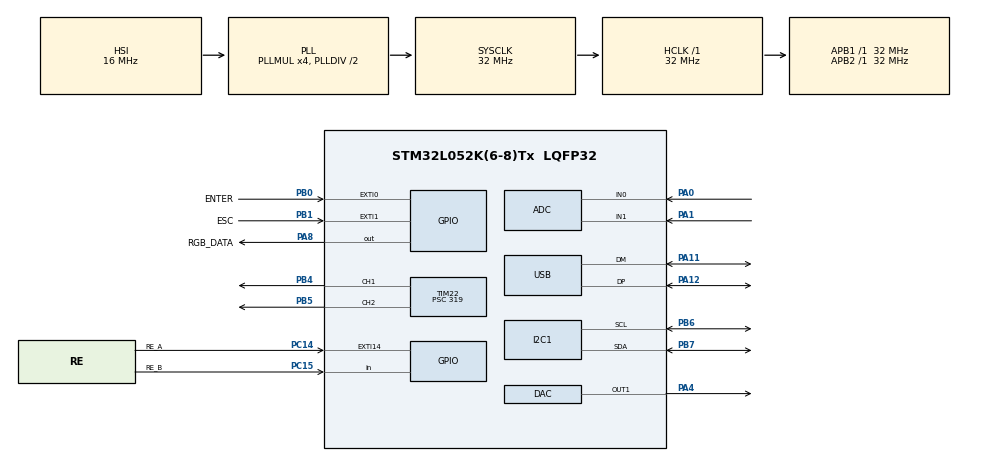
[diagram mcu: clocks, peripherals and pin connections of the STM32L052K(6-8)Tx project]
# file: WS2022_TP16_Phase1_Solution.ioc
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ADC.ClockPrescaler=ADC_CLOCK_ASYNC_DIV64
ADC.ContinuousConvMode=ENABLE
ADC.DMAContinuousRequests=ENABLE
ADC.SamplingTime=ADC_SAMPLETIME_160CYCLES_5
Dma.ADC.0.Direction=DMA_PERIPH_TO_MEMORY
Dma.ADC.0.Instance=DMA1_Channel1
Dma.ADC.0.MemDataAlignment=DMA_MDATAALIGN_WORD
Dma.ADC.0.MemInc=DMA_MINC_ENABLE
Dma.ADC.0.Mode=DMA_CIRCULAR
Dma.ADC.0.PeriphDataAlignment=DMA_PDATAALIGN_WORD
Dma.ADC.0.PeriphInc=DMA_PINC_DISABLE
Dma.ADC.0.Priority=DMA_PRIORITY_LOW
Dma.Request0=ADC
Dma.Request1=TIM6_UP
Dma.TIM6_UP.1.Direction=DMA_PERIPH_TO_MEMORY
Dma.TIM6_UP.1.Instance=DMA1_Channel2
Dma.TIM6_UP.1.MemDataAlignment=DMA_MDATAALIGN_WORD
Dma.TIM6_UP.1.MemInc=DMA_MINC_DISABLE
Dma.TIM6_UP.1.Mode=DMA_NORMAL
Dma.TIM6_UP.1.PeriphDataAlignment=DMA_PDATAALIGN_WORD
Dma.TIM6_UP.1.PeriphInc=DMA_PINC_DISABLE
Dma.TIM6_UP.1.Priority=DMA_PRIORITY_LOW
I2C1.Timing=0x00707CBB
Mcu.Family=STM32L0
Mcu.Name=STM32L052K(6-8)Tx
Mcu.Package=LQFP32
NVIC.DMA1_Channel1_IRQn=true\:0\:0\:false\:false\:true\:false\:true\:true
NVIC.DMA1_Channel2_3_IRQn=true\:0\:0\:false\:false\:true\:false\:true\:true
NVIC.EXTI0_1_IRQn=true\:0\:0\:false\:false\:true\:true\:true\:true
NVIC.EXTI4_15_IRQn=true\:0\:0\:false\:false\:true\:true\:true\:true
NVIC.TIM6_DAC_IRQn=true\:0\:0\:false\:false\:true\:true\:true\:true
NVIC.USB_IRQn=true\:0\:0\:false\:false\:true\:false\:true\:true
PA0.Mode=IN0
PA0.Signal=ADC_IN0
PA1.Mode=IN1
PA1.Signal=ADC_IN1
PA10.Signal=USART1_RX
PA11.Mode=Device
PA11.Signal=USB_DM
PA12.Mode=Device
PA12.Signal=USB_DP
PA13.Mode=Serial_Wire
PA13.Signal=SYS_SWDIO
PA14.Mode=Serial_Wire
PA14.Signal=SYS_SWCLK
PA4.Signal=COMP_DAC1_group
PA5.Signal=SPI1_SCK
PA6.Signal=SPI1_MISO
PA7.Signal=SPI1_MOSI
PA8.GPIO_Label=RGB_DATA
PA8.GPIO_Speed=GPIO_SPEED_FREQ_VERY_HIGH
PA8.PinState=GPIO_PIN_RESET
PA8.Signal=GPIO_Output
PA9.Signal=USART1_TX
PB0.GPIO_Label=ENTER
PB0.GPIO_ModeDefaultEXTI=GPIO_MODE_IT_FALLING
PB0.GPIO_PuPd=GPIO_PULLUP
PB0.Signal=GPXTI0
PB1.GPIO_Label=ESC
PB1.GPIO_ModeDefaultEXTI=GPIO_MODE_IT_FALLING
PB1.GPIO_PuPd=GPIO_PULLUP
PB1.Signal=GPXTI1
PB4.Signal=S_TIM22_CH1
PB5.Signal=S_TIM22_CH2
PB6.Mode=I2C
PB6.Signal=I2C1_SCL
PB7.Mode=I2C
PB7.Signal=I2C1_SDA
PC14-OSC32_IN.GPIO_Label=RE_A
PC14-OSC32_IN.GPIO_ModeDefaultEXTI=GPIO_MODE_IT_FALLING
PC14-OSC32_IN.GPIO_PuPd=GPIO_PULLUP
PC14-OSC32_IN.Signal=GPXTI14
PC15-OSC32_OUT.GPIO_Label=RE_B
PC15-OSC32_OUT.GPIO_PuPd=GPIO_PULLUP
PC15-OSC32_OUT.Signal=GPIO_Input
ProjectManager.HeapSize=0x200
ProjectManager.StackSize=0x400
ProjectManager.TargetToolchain=STM32CubeIDE
RCC.AHBFreq_Value=32000000
RCC.APB1Freq_Value=32000000
RCC.APB1TimFreq_Value=32000000
RCC.APB2Freq_Value=32000000
RCC.APB2TimFreq_Value=32000000
RCC.HCLKFreq_Value=32000000
RCC.HSI16_VALUE=16000000
RCC.HSI48MClockSelection=RCC_USBCLKSOURCE_HSI48
RCC.HSI48_VALUE=48000000
RCC.HSI_VALUE=16000000
RCC.LSE_VALUE=32768
RCC.MSI_VALUE=2097000
RCC.PLLMUL=RCC_PLLMUL_4
RCC.SYSCLKFreq_VALUE=32000000
RCC.SYSCLKSource=RCC_SYSCLKSOURCE_PLLCLK
RCC.VCOOutputFreq_Value=64000000
RTC.AsynchPrediv=124
RTC.Date=20
RTC.Hours=23
RTC.Minutes=59
RTC.Month=RTC_MONTH_OCTOBER
RTC.Seconds=50
RTC.StoreOperation=RTC_STOREOPERATION_SET
RTC.SynchPrediv=333
RTC.WeekDay=RTC_WEEKDAY_THURSDAY
RTC.Year=22
SH.COMP_DAC1_group.0=DAC_OUT1,DAC_OUT1
SH.S_TIM22_CH1.0=TIM22_CH1,PWM Generation1 CH1
SH.S_TIM22_CH2.0=TIM22_CH2,PWM Generation2 CH2
TIM22.Channel-PWM\ Generation1\ CH1=TIM_CHANNEL_1
TIM22.Channel-PWM\ Generation2\ CH2=TIM_CHANNEL_2
TIM22.Period=100
TIM22.Prescaler=319
TIM6.Period=10000
TIM6.Prescaler=3199
USB_DEVICE.CLASS_NAME_FS=CDC
USB_DEVICE.VirtualMode=Cdc
USB_DEVICE.VirtualModeFS=Cdc_FS
VP_RTC_VS_RTC_Activate.Mode=RTC_Enabled
VP_RTC_VS_RTC_Calendar.Mode=RTC_Calendar
VP_TIM22_VS_ClockSourceINT.Mode=Internal
VP_TIM6_VS_ClockSourceINT.Mode=Enable_Timer
VP_USB_DEVICE_VS_USB_DEVICE_CDC_FS.Mode=CDC_FS
board=custom

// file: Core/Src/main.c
/* USER CODE BEGIN Header */
/**
 ******************************************************************************
 * @file           : main.c
 * @brief          : Main program body
 ******************************************************************************
 * @attention
 *
 * Copyright (c) 2022 STMicroelectronics.
 * All rights reserved.
 *
 * This software is licensed under terms that can be found in the LICENSE file
 * in the root directory of this software component.
 * If no LICENSE file comes with this software, it is provided AS-IS.
 *
 ******************************************************************************
 */
/* USER CODE END Header */
#include "main.h"
#include "adc.h"
#include "dac.h"
#include "dma.h"
#include "i2c.h"
#include "rtc.h"
#include "tim.h"
#include "usb_device.h"
#include "gpio.h"

/* USER CODE BEGIN Includes */
#include "lcd.h"
#include "ws2812b.h"
#include "pca9536.h"
#include <stdio.h>

#include "usbd_cdc_if.h"
/* USER CODE END Includes */

/* USER CODE BEGIN PV */

/*
 * Global variables
 */
char buff[17];            // buffer for LCD display

uint32_t led_colors[12] = { 0 };      // this is buffer for all 12 rgb leds
uint8_t rotary = 1;                  // inc or dec when rotary encoder is rotated

uint32_t Trimpot[2];
enum
{
  Task1 = 1, Task2, Task3
} menu = 1;

RTC_TimeTypeDef currentTime;
RTC_DateTypeDef currentDate;

uint16_t frequency = 1000;
uint8_t duty1 = 0, duty2 = 0;

uint8_t usbReceiveBuf[64];
uint8_t usbSendBuf[20];

uint8_t timeoutRcv = 0;
boolean noMessage = true;

/* USER CODE END PV */

void SystemClock_Config(void);

/* USER CODE BEGIN 0 */
void changePWMFrequency (uint16_t frequencyP)
{
  uint16_t prescalerValue = (float) (320000 / frequencyP);
  __HAL_TIM_SET_PRESCALER(&htim22, prescalerValue);
}

void clearReceivedMessage ()
{
  memset (usbReceiveBuf, ' ', 10);
  noMessage = true;
}

void writeWeekDayToDisplay (uint8_t weekDayP)
{
  switch (weekDayP)
  {
	case RTC_WEEKDAY_MONDAY:
	  lcd_putstr ("MON");
	  break;
	case RTC_WEEKDAY_TUESDAY:
	  lcd_putstr ("TUE");
	  break;
	case RTC_WEEKDAY_WEDNESDAY:
	  lcd_putstr ("WED");
	  break;
	case RTC_WEEKDAY_THURSDAY:
	  lcd_putstr ("THU");
	  break;
	case RTC_WEEKDAY_FRIDAY:
	  lcd_putstr ("FRI");
	  break;
	case RTC_WEEKDAY_SATURDAY:
	  lcd_putstr ("SAT");
	  break;
	case RTC_WEEKDAY_SUNDAY:
	  lcd_putstr ("SUN");
	  break;
	default:
	  break;
  }
}

void getRtcDateTime ()
{
  HAL_RTC_GetDate (&hrtc, &currentDate, RTC_FORMAT_BIN);
  HAL_RTC_GetTime (&hrtc, &currentTime, RTC_FORMAT_BIN);
}

void builtInRtc ()
{
  lcd_goto_rc (0, 0);
  sprintf (buff, "%02d/%02d/%02d     ", currentDate.Date, currentDate.Month, currentDate.Year);
  lcd_putstr (buff);
  writeWeekDayToDisplay (currentDate.WeekDay);

  lcd_goto_rc (1, 0);
  sprintf (buff, "    %02d:%02d:%02d    ", currentTime.Hours, currentTime.Minutes, currentTime.Seconds);
  lcd_putstr (buff);
}

void serialCom ()
{
  lcd_goto_rc (0, 0);

  uint8_t len = strlen (usbReceiveBuf);
  if (timeoutRcv == 0) clearReceivedMessage ();
  else
  {
	//Fill with empty spaces to wipe out LCD previous messages
	for (uint8_t i = 0; i < (9 - len); i++)
	  usbReceiveBuf[len + i] = 32;
  }
  sprintf (buff, "Rec: %s ", usbReceiveBuf);
  lcd_putstr (buff);

  lcd_goto_rc (1, 0);
  sprintf (buff, "Timeout: %02ds    ", timeoutRcv);
  lcd_putstr (buff);
}

void dutyFromTrimpot ()
{
  duty1 = (float) (4095 - Trimpot[0]) * 0.0245;
  duty2 = (float) (4095 - Trimpot[1]) * 0.0245;

  __HAL_TIM_SET_COMPARE(&htim22, TIM_CHANNEL_1, duty1);
  __HAL_TIM_SET_COMPARE(&htim22, TIM_CHANNEL_2, duty2);
}

void pwm ()
{
  dutyFromTrimpot ();

  lcd_goto_rc (0, 0);
  sprintf (buff, "CH1   %04d   CH2", frequency);
  lcd_putstr (buff);

  lcd_goto_rc (1, 0);
  sprintf (buff, "%03d%%   Hz   %03d%%", duty1, duty2);
  lcd_putstr (buff);
}

/* USER CODE END 0 */

int main(void)
{

  /* MCU Configuration--------------------------------------------------------*/

  /* Reset of all peripherals, Initializes the Flash interface and the Systick. */
  HAL_Init();

  /* Configure the system clock */
  SystemClock_Config();

  /* Initialize all configured peripherals */
  MX_GPIO_Init();
  MX_DMA_Init();
  MX_ADC_Init();
  MX_DAC_Init();
  MX_I2C1_Init();
  MX_TIM22_Init();
  MX_RTC_Init();
  MX_USB_DEVICE_Init();
  MX_TIM6_Init();
  /* USER CODE BEGIN 2 */

  HAL_ADCEx_Calibration_Start (&hadc, ADC_SINGLE_ENDED);
  HAL_ADC_Start_DMA (&hadc, Trimpot, 2);
  HAL_TIM_PWM_Start (&htim22, TIM_CHANNEL_1);
  HAL_TIM_PWM_Start (&htim22, TIM_CHANNEL_2);

  lcd_init ();
  lcd_write_cmd (LCD_CLEAR_DISPLAY);
  lcd_write_cmd (LCD_CURSOR_OFF);

  pca9536_configure_port (&hi2c1, 0xC0);
  pca9536_write_port_outputs (&hi2c1, 0x02);

  HAL_Delay (100);

  /* USER CODE END 2 */

  /* Infinite loop */
  while (1)
  {

    /* USER CODE BEGIN 3 */

	switch (menu)
	{
	  case Task1:
		builtInRtc ();
		break;
	  case Task2:
		serialCom ();
		break;
	  case Task3:
		pwm ();
		break;
	  default:
		break;
	}

	getRtcDateTime ();
	HAL_Delay (10);
  }
  /* USER CODE END 3 */
}

void SystemClock_Config(void)
{
  RCC_OscInitTypeDef RCC_OscInitStruct = {0};
  RCC_ClkInitTypeDef RCC_ClkInitStruct = {0};
  RCC_PeriphCLKInitTypeDef PeriphClkInit = {0};

  /** Configure the main internal regulator output voltage
  */
  __HAL_PWR_VOLTAGESCALING_CONFIG(PWR_REGULATOR_VOLTAGE_SCALE1);

  /** Initializes the RCC Oscillators according to the specified parameters
  * in the RCC_OscInitTypeDef structure.
  */
  RCC_OscInitStruct.OscillatorType = RCC_OSCILLATORTYPE_HSI|RCC_OSCILLATORTYPE_LSI
                              |RCC_OSCILLATORTYPE_HSI48;
  RCC_OscInitStruct.HSIState = RCC_HSI_ON;
  RCC_OscInitStruct.HSICalibrationValue = RCC_HSICALIBRATION_DEFAULT;
  RCC_OscInitStruct.LSIState = RCC_LSI_ON;
  RCC_OscInitStruct.HSI48State = RCC_HSI48_ON;
  RCC_OscInitStruct.PLL.PLLState = RCC_PLL_ON;
  RCC_OscInitStruct.PLL.PLLSource = RCC_PLLSOURCE_HSI;
  RCC_OscInitStruct.PLL.PLLMUL = RCC_PLLMUL_4;
  RCC_OscInitStruct.PLL.PLLDIV = RCC_PLLDIV_2;
  if (HAL_RCC_OscConfig(&RCC_OscInitStruct) != HAL_OK)
  {
    Error_Handler();
  }

  /** Initializes the CPU, AHB and APB buses clocks
  */
  RCC_ClkInitStruct.ClockType = RCC_CLOCKTYPE_HCLK|RCC_CLOCKTYPE_SYSCLK
                              |RCC_CLOCKTYPE_PCLK1|RCC_CLOCKTYPE_PCLK2;
  RCC_ClkInitStruct.SYSCLKSource = RCC_SYSCLKSOURCE_PLLCLK;
  RCC_ClkInitStruct.AHBCLKDivider = RCC_SYSCLK_DIV1;
  RCC_ClkInitStruct.APB1CLKDivider = RCC_HCLK_DIV1;
  RCC_ClkInitStruct.APB2CLKDivider = RCC_HCLK_DIV1;

  if (HAL_RCC_ClockConfig(&RCC_ClkInitStruct, FLASH_LATENCY_1) != HAL_OK)
  {
    Error_Handler();
  }
  PeriphClkInit.PeriphClockSelection = RCC_PERIPHCLK_I2C1|RCC_PERIPHCLK_RTC
                              |RCC_PERIPHCLK_USB;
  PeriphClkInit.I2c1ClockSelection = RCC_I2C1CLKSOURCE_PCLK1;
  PeriphClkInit.RTCClockSelection = RCC_RTCCLKSOURCE_LSI;
  PeriphClkInit.UsbClockSelection = RCC_USBCLKSOURCE_HSI48;
  if (HAL_RCCEx_PeriphCLKConfig(&PeriphClkInit) != HAL_OK)
  {
    Error_Handler();
  }
}

/* USER CODE BEGIN 4 */
void HAL_TIM_PeriodElapsedCallback (TIM_HandleTypeDef *htim)
{
  if (timeoutRcv > 0) timeoutRcv--;
  else HAL_TIM_Base_Stop_IT (&htim6);
}

void HAL_GPIO_EXTI_Callback (uint16_t pin)
{
  if (pin == RE_A_Pin)
  {
	//Clockwise
	if (HAL_GPIO_ReadPin (RE_B_GPIO_Port, RE_B_Pin) == 1) menu++;
	else menu--;

	if (menu > 3) menu = 1;
	if (menu < 1) menu = 3;

	if (menu != Task3)
	{
	  duty1 = 0;
	  duty2 = 0;
	  frequency = 1000;
	  __HAL_TIM_SET_COMPARE(&htim22, TIM_CHANNEL_1, 0);
	  __HAL_TIM_SET_COMPARE(&htim22, TIM_CHANNEL_2, 0);
	}

	if (menu != Task2) timeoutRcv = 0;
  }

  //ESC Button
  if (pin == GPIO_PIN_1)
  {
	if (menu == Task2)
	{
	  clearReceivedMessage ();
	  timeoutRcv = 0;
	}

	if (menu == Task3)
	{
	  frequency -= 100;
	  if (frequency <= 100) frequency = 100;
	  changePWMFrequency (frequency);
	}

  }

  //ENTER Button
  if (pin == GPIO_PIN_0)
  {
	if (menu == Task2 && noMessage == false)
	{
	  timeoutRcv++;
	  if (timeoutRcv > 10) timeoutRcv = 10;
	}

	if (menu == Task3)
	{
	  frequency += 100;
	  if (frequency >= 1000) frequency = 1000;
	  changePWMFrequency (frequency);
	}
  }

}
/* USER CODE END 4 */

void Error_Handler(void)
{
  /* USER CODE BEGIN Error_Handler_Debug */
  /* User can add his own implementation to report the HAL error return state */
  __disable_irq ();
  while (1)
  {
  }
  /* USER CODE END Error_Handler_Debug */
}
